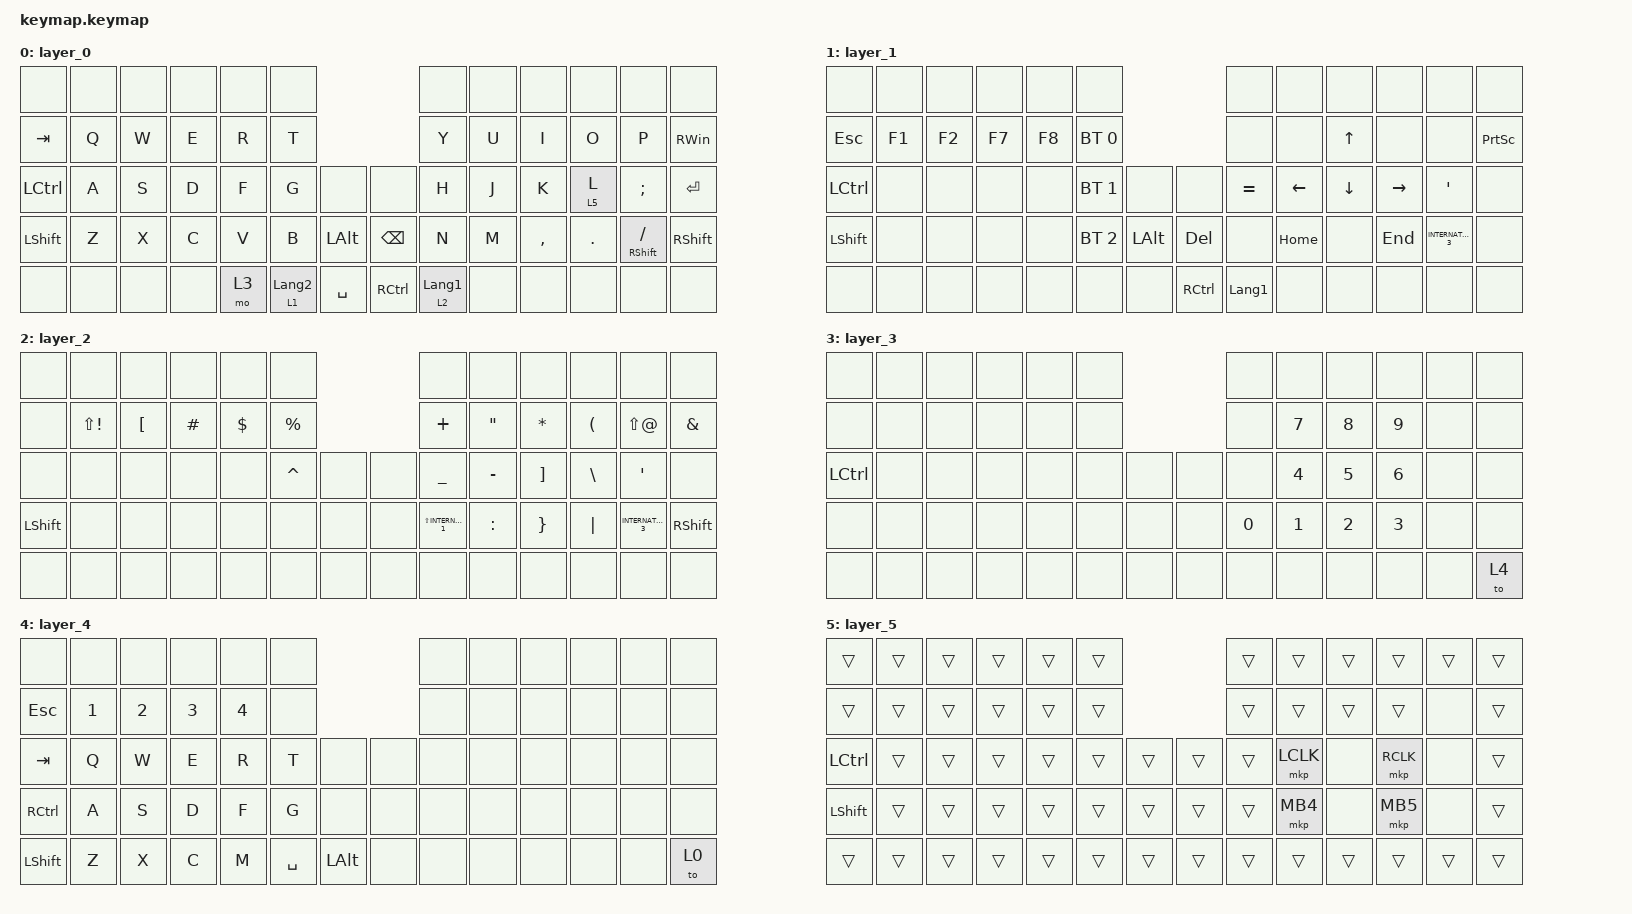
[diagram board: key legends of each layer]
#include <input/processors.dtsi>
#include <behaviors.dtsi>
#include <dt-bindings/zmk/bt.h>
#include <dt-bindings/zmk/keys.h>
#include <dt-bindings/zmk/pointing.h>

/* --- 一律の長押し判定（Hold-Tap）設定：Keymap Editorと共存させるため &mt / &lt を上書き --- */

/ {
    combos { compatible = "zmk,combos"; };

    behaviors {
        lt_u: lt_u {
            compatible = "zmk,behavior-hold-tap";
            label = "LT_U";
            bindings = <&mo>, <&kp>;

            #binding-cells = <2>;
            tapping-term-ms = <250>;
            flavor = "hold-preferred";
        };

        mt_u: mt_u {
            compatible = "zmk,behavior-hold-tap";
            label = "MT_U";
            bindings = <&kp>, <&kp>;

            #binding-cells = <2>;
            tapping-term-ms = <250>;
            flavor = "balanced";
        };

        lt_s: lt_s {
            compatible = "zmk,behavior-hold-tap";
            label = "LT_S";
            bindings = <&mo>, <&kp>;

            #binding-cells = <2>;
            tapping-term-ms = <250>;
            flavor = "tap-preferred";
        };
    };

    keymap {
        compatible = "zmk,keymap";

        layer_0 {
            bindings = <
&none           &none  &none  &none  &none  &none                                                &none               &none  &none      &none      &none                 &none
&kp TAB         &kp Q  &kp W  &kp E  &kp R  &kp T                                                &kp Y               &kp U  &kp I      &kp O      &kp P                 &kp RIGHT_WIN
&kp LCTRL       &kp A  &kp S  &kp D  &kp F  &kp G               &none         &none              &kp H               &kp J  &kp K      &lt_u 5 L  &kp SEMI              &kp ENTER
&kp LEFT_SHIFT  &kp Z  &kp X  &kp C  &kp V  &kp B               &kp LEFT_ALT  &kp BSPC           &kp N               &kp M  &kp COMMA  &kp DOT    &mt RIGHT_SHIFT FSLH  &kp RIGHT_SHIFT
&none           &none  &none  &none  &mo 3  &lt_u 1 LANGUAGE_2  &kp SPACE     &kp RIGHT_CONTROL  &lt_u 2 LANGUAGE_1  &none  &none      &none      &none                 &none
            >;
        };

        layer_1 {
            bindings = <
&none             &none   &none   &none   &none   &none                                          &none           &none           &none           &none            &none                &none
&kp ESCAPE        &kp F1  &kp F2  &kp F7  &kp F8  &bt BT_SEL 0                                   &none           &none           &kp UP_ARROW    &none            &none                &kp PRINTSCREEN
&kp LEFT_CONTROL  &none   &none   &none   &none   &bt BT_SEL 1  &none         &none              &kp EQUAL       &kp LEFT_ARROW  &kp DOWN_ARROW  &kp RIGHT_ARROW  &kp SINGLE_QUOTE     &none
&kp LEFT_SHIFT    &none   &none   &none   &none   &bt BT_SEL 2  &kp LEFT_ALT  &kp DELETE         &none           &kp HOME        &none           &kp END          &kp INTERNATIONAL_3  &none
&none             &none   &none   &none   &none   &none         &none         &kp RIGHT_CONTROL  &kp LANGUAGE_1  &none           &none           &none            &none                &none
            >;
        };

        layer_2 {
            bindings = <
&none           &none                &none             &none     &none       &none                    &none                    &none              &none              &none                 &none                &none
&none           &kp LS(EXCLAMATION)  &kp LEFT_BRACKET  &kp HASH  &kp DOLLAR  &kp PRCNT                &kp PLUS                 &kp DOUBLE_QUOTES  &kp ASTERISK       &kp LEFT_PARENTHESIS  &kp LS(AT_SIGN)      &kp AMPERSAND
&none           &none                &none             &none     &none       &kp CARET  &none  &none  &kp UNDER                &kp MINUS          &kp RIGHT_BRACKET  &kp BACKSLASH         &kp SINGLE_QUOTE     &none
&kp LEFT_SHIFT  &none                &none             &none     &none       &none      &none  &none  &kp LS(INTERNATIONAL_1)  &kp COLON          &kp RIGHT_BRACE    &kp PIPE              &kp INTERNATIONAL_3  &kp RIGHT_SHIFT
&none           &none                &none             &none     &none       &none      &none  &none  &none                    &none              &none              &none                 &none                &none
            >;
        };

        layer_3 {
            bindings = <
&none             &none  &none  &none  &none  &none                &none         &none         &none         &none         &none  &none
&none             &none  &none  &none  &none  &none                &none         &kp NUMBER_7  &kp NUMBER_8  &kp NUMBER_9  &none  &none
&kp LEFT_CONTROL  &none  &none  &none  &none  &none  &none  &none  &none         &kp NUMBER_4  &kp NUMBER_5  &kp NUMBER_6  &none  &none
&none             &none  &none  &none  &none  &none  &none  &none  &kp NUMBER_0  &kp NUMBER_1  &kp NUMBER_2  &kp NUMBER_3  &none  &none
&none             &none  &none  &none  &none  &none  &none  &none  &none         &none         &none         &none         &none  &to 4
            >;
        };

        layer_4 {
            bindings = <
&none           &none         &none         &none         &none         &none                           &none  &none  &none  &none  &none  &none
&kp ESCAPE      &kp NUMBER_1  &kp NUMBER_2  &kp NUMBER_3  &kp NUMBER_4  &none                           &none  &none  &none  &none  &none  &none
&kp TAB         &kp Q         &kp W         &kp E         &kp R         &kp T      &none         &none  &none  &none  &none  &none  &none  &none
&kp RCTRL       &kp A         &kp S         &kp D         &kp F         &kp G      &none         &none  &none  &none  &none  &none  &none  &none
&kp LEFT_SHIFT  &kp Z         &kp X         &kp C         &kp M         &kp SPACE  &kp LEFT_ALT  &none  &none  &none  &none  &none  &none  &to 0
            >;
        };

        layer_5 {
            bindings = <
&trans            &trans  &trans  &trans  &trans  &trans                  &trans  &trans     &trans  &trans     &trans  &trans
&trans            &trans  &trans  &trans  &trans  &trans                  &trans  &trans     &trans  &trans     &none   &trans
&kp LEFT_CONTROL  &trans  &trans  &trans  &trans  &trans  &trans  &trans  &trans  &mkp LCLK  &none   &mkp RCLK  &none   &trans
&kp LEFT_SHIFT    &trans  &trans  &trans  &trans  &trans  &trans  &trans  &trans  &mkp MB4   &none   &mkp MB5   &none   &trans
&trans            &trans  &trans  &trans  &trans  &trans  &trans  &trans  &trans  &trans     &trans  &trans     &trans  &trans
            >;
        };
    };
};
